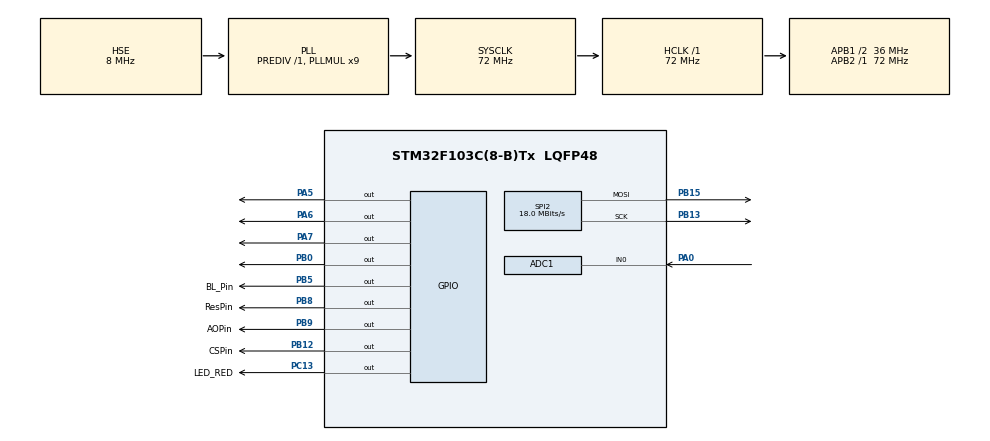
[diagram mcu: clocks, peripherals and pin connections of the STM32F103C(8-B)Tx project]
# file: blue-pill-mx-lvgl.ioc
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Mcu.Family=STM32F1
RCC.PLLSourceVirtual=RCC_PLLSOURCE_HSE
NVIC.ADC1_2_IRQn=true\:0\:0\:false\:false\:true\:true\:true
ADC1.Rank-0\#ChannelRegularConversion=1
PD1-OSC_OUT.Mode=HSE-External-Oscillator
PB9.GPIO_Label=AOPin
SPI2.VirtualType=VM_MASTER
PC13-TAMPER-RTC.Signal=GPIO_Output
PD0-OSC_IN.Signal=RCC_OSC_IN
RCC.APB1CLKDivider=RCC_HCLK_DIV2
PB13.Signal=SPI2_SCK
PB15.Signal=SPI2_MOSI
RCC.SYSCLKSource=RCC_SYSCLKSOURCE_PLLCLK
ProjectManager.StackSize=0x400
PA0-WKUP.Signal=ADCx_IN0
PD1-OSC_OUT.Signal=RCC_OSC_OUT
RCC.ADCPresc=RCC_ADCPCLK2_DIV6
PA13.Signal=SYS_JTMS-SWDIO
PB8.GPIO_Label=ResPin
ProjectManager.TargetToolchain=Makefile
RCC.HCLKFreq_Value=72000000
RCC.APB2TimFreq_Value=72000000
RCC.USBFreq_Value=72000000
RCC.AHBFreq_Value=72000000
PB12.GPIO_Speed=GPIO_SPEED_FREQ_HIGH
PD0-OSC_IN.Mode=HSE-External-Oscillator
PA5.Signal=GPIO_Output
ADC1.Channel-0\#ChannelRegularConversion=ADC_CHANNEL_0
board=custom
PC13-TAMPER-RTC.GPIO_Label=LED_RED
RCC.PLLMUL=RCC_PLL_MUL9
PB15.Mode=TX_Only_Simplex_Unidirect_Master
PB12.GPIO_Label=CSPin
ADC1.EnableAnalogWatchDog=true
RCC.APB2Freq_Value=72000000
ADC1.AWD1ITMode=ENABLE
PA14.Mode=Serial_Wire
SPI2.CalculateBaudRate=18.0 MBits/s
SH.ADCx_IN0.0=ADC1_IN0,IN0
PC13-TAMPER-RTC.GPIO_Speed=GPIO_SPEED_FREQ_HIGH
PA13.Mode=Serial_Wire
Mcu.Name=STM32F103C(8-B)Tx
ADC1.SamplingTime-0\#ChannelRegularConversion=ADC_SAMPLETIME_1CYCLE_5
RCC.SYSCLKFreq_VALUE=72000000
Mcu.Package=LQFP48
PB5.Signal=GPIO_Output
PB9.Signal=GPIO_Output
PA6.Signal=GPIO_Output
ADC1.master=1
SPI2.Mode=SPI_MODE_MASTER
PA14.Signal=SYS_JTCK-SWCLK
ProjectManager.HeapSize=0x200
PB5.GPIO_Speed=GPIO_SPEED_FREQ_HIGH
NVIC.PriorityGroup=NVIC_PRIORITYGROUP_4
ADC1.NbrOfConversionFlag=1
PB9.GPIO_Speed=GPIO_SPEED_FREQ_MEDIUM
PB5.GPIO_Label=BL_Pin
RCC.APB1TimFreq_Value=72000000
PB8.Signal=GPIO_Output
SPI2.Direction=SPI_DIRECTION_2LINES
PB13.Mode=TX_Only_Simplex_Unidirect_Master
RCC.APB1Freq_Value=36000000
PB8.GPIO_Speed=GPIO_SPEED_FREQ_HIGH
PB0.Signal=GPIO_Output
PB12.Signal=GPIO_Output
PA7.Signal=GPIO_Output

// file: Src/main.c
/* USER CODE BEGIN Header */
/**
  ******************************************************************************
  * @file           : main.c
  * @brief          : Main program body
  ******************************************************************************
  * @attention
  *
  * <h2><center>&copy; Copyright (c) 2020 STMicroelectronics.
  * All rights reserved.</center></h2>
  *
  * This software component is licensed by ST under BSD 3-Clause license,
  * the "License"; You may not use this file except in compliance with the
  * License. You may obtain a copy of the License at:
  *                        opensource.org/licenses/BSD-3-Clause
  *
  ******************************************************************************
  */
/* USER CODE END Header */

#include "main.h"
#include "adc.h"
#include "spi.h"
#include "gpio.h"

/* USER CODE BEGIN Includes */
#include "ili9163.h"
#include "lvgl.h"
#include <stdio.h>
/* USER CODE END Includes */

/* USER CODE BEGIN PTD */
static volatile uint32_t adc;
lv_obj_t *label_adc;
/* USER CODE END PTD */

/* USER CODE BEGIN PV */
static void create_arc();
static void analog_callback(ADC_HandleTypeDef *hadc);
/* USER CODE END PV */

void SystemClock_Config(void);

/* USER CODE BEGIN 0 */

static void arc_loader(lv_task_t *t)
{
  uint16_t end_angle = adc/10;
  if (end_angle >= 360) {
      end_angle = 360;
  } else if (end_angle <= 0){
    end_angle = 1;
  }

  lv_arc_set_end_angle(t->user_data, end_angle);
}

static void create_arc()
{
  /*Create an Arc*/
  lv_obj_t * arc = lv_arc_create(lv_scr_act(), NULL);
  lv_arc_set_bg_angles(arc, 0, 360);
  lv_arc_set_angles(arc, 0, 359);
  lv_obj_align(arc, NULL, LV_ALIGN_CENTER, 0, 15);

  /* Create an `lv_task` to update the arc.
   * Store the `arc` in the user data*/
  lv_task_create(arc_loader, 20, LV_TASK_PRIO_LOWEST, arc);
}

static void analog_callback(ADC_HandleTypeDef *hadc)
{
    adc = HAL_ADC_GetValue(&hadc1);
}

void HAL_ADC_ConvCpltCallback(ADC_HandleTypeDef *hadc)
{
    analog_callback(hadc);
}
/* USER CODE END 0 */

int main(void)
{

  /* MCU Configuration--------------------------------------------------------*/

  /* Reset of all peripherals, Initializes the Flash interface and the Systick. */
  HAL_Init();

  /* Configure the system clock */
  SystemClock_Config();

  /* Initialize all configured peripherals */
  MX_GPIO_Init();
  MX_ADC1_Init();
  MX_SPI2_Init();
  /* USER CODE BEGIN 2 */
  // delay for stable hardware
  HAL_Delay(1000);
  lv_init();
  my_tft_init();
  create_arc();
  /* USER CODE END 2 */

  /* Infinite loop */
  while (1)
  {

    /* USER CODE BEGIN 3 */

    // lcd_i2c_command(LCD_CMD_SHIFT_RIGHT);
   HAL_ADC_Start_IT(&hadc1);
   lv_task_handler();
   HAL_Delay(5);
  }
  /* USER CODE END 3 */
}

void SystemClock_Config(void)
{
  RCC_OscInitTypeDef RCC_OscInitStruct = {0};
  RCC_ClkInitTypeDef RCC_ClkInitStruct = {0};
  RCC_PeriphCLKInitTypeDef PeriphClkInit = {0};

  /** Initializes the CPU, AHB and APB busses clocks
  */
  RCC_OscInitStruct.OscillatorType = RCC_OSCILLATORTYPE_HSE;
  RCC_OscInitStruct.HSEState = RCC_HSE_ON;
  RCC_OscInitStruct.HSEPredivValue = RCC_HSE_PREDIV_DIV1;
  RCC_OscInitStruct.HSIState = RCC_HSI_ON;
  RCC_OscInitStruct.PLL.PLLState = RCC_PLL_ON;
  RCC_OscInitStruct.PLL.PLLSource = RCC_PLLSOURCE_HSE;
  RCC_OscInitStruct.PLL.PLLMUL = RCC_PLL_MUL9;
  if (HAL_RCC_OscConfig(&RCC_OscInitStruct) != HAL_OK)
  {
    Error_Handler();
  }
  /** Initializes the CPU, AHB and APB busses clocks
  */
  RCC_ClkInitStruct.ClockType = RCC_CLOCKTYPE_HCLK|RCC_CLOCKTYPE_SYSCLK
                              |RCC_CLOCKTYPE_PCLK1|RCC_CLOCKTYPE_PCLK2;
  RCC_ClkInitStruct.SYSCLKSource = RCC_SYSCLKSOURCE_PLLCLK;
  RCC_ClkInitStruct.AHBCLKDivider = RCC_SYSCLK_DIV1;
  RCC_ClkInitStruct.APB1CLKDivider = RCC_HCLK_DIV2;
  RCC_ClkInitStruct.APB2CLKDivider = RCC_HCLK_DIV1;

  if (HAL_RCC_ClockConfig(&RCC_ClkInitStruct, FLASH_LATENCY_2) != HAL_OK)
  {
    Error_Handler();
  }
  PeriphClkInit.PeriphClockSelection = RCC_PERIPHCLK_ADC;
  PeriphClkInit.AdcClockSelection = RCC_ADCPCLK2_DIV6;
  if (HAL_RCCEx_PeriphCLKConfig(&PeriphClkInit) != HAL_OK)
  {
    Error_Handler();
  }
}

void Error_Handler(void)
{
  /* USER CODE BEGIN Error_Handler_Debug */
  /* User can add his own implementation to report the HAL error return state */
  while (1)
  {
    HAL_GPIO_TogglePin(LED_RED_GPIO_Port, LED_RED_Pin);
    HAL_Delay(500);
  }

  /* USER CODE END Error_Handler_Debug */
}

/************************ (C) COPYRIGHT STMicroelectronics *****END OF FILE****/
